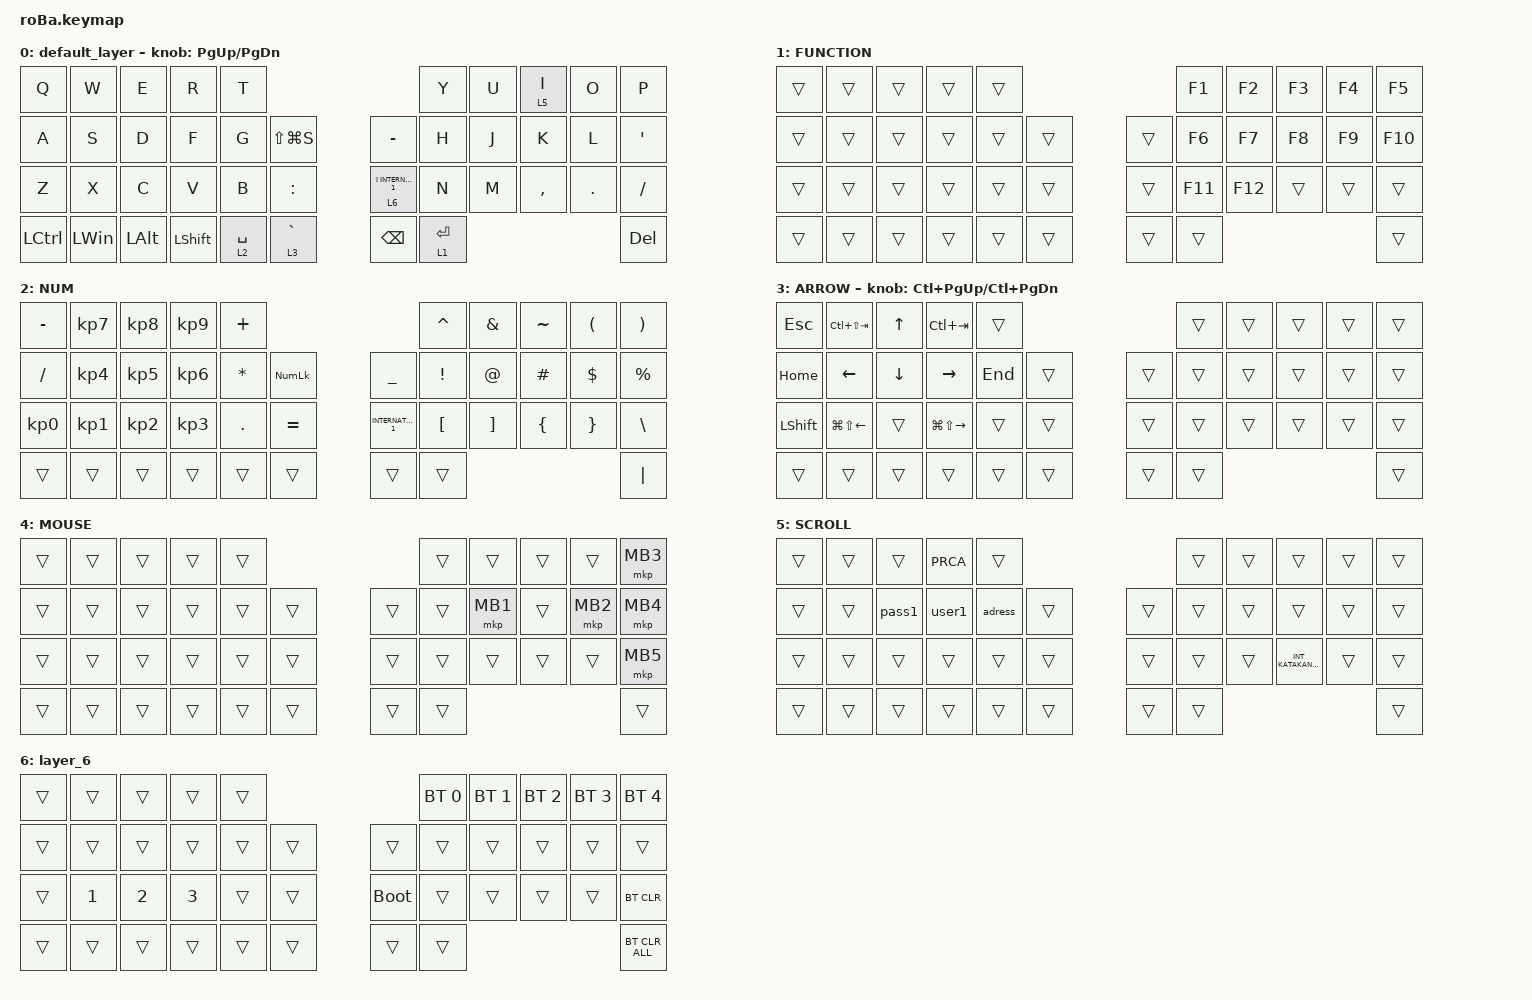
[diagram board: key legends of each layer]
#include <behaviors.dtsi>
#include <dt-bindings/zmk/bt.h>
#include <dt-bindings/zmk/keys.h>
#include <dt-bindings/zmk/pointing.h>

&mt {
    flavor = "balanced";
    quick-tap-ms = <0>;
};

&trackball {
    automouse-layer = <4>;
    scroll-layers = <5>;

    // arrows {
    //     layers = <3>;
    //     bindings =
    //         <&kp RIGHT_ARROW>,
    //         <&kp LEFT_ARROW>,
    //         <&kp UP_ARROW>,
    //         <&kp DOWN_ARROW>;
    //     tick = <10>;
    //     wait-ms = <5>;
    //     tap-ms = <5>;
    // };
};

/ {
    combos {
        compatible = "zmk,combos";

        tab {
            bindings = <&kp TAB>;
            key-positions = <11 12>;
        };

        shift_tab {
            bindings = <&kp LS(TAB)>;
            key-positions = <12 13>;
        };

        double_quotation {
            bindings = <&kp DOUBLE_QUOTES>;
            key-positions = <20 21>;
        };

        eq {
            bindings = <&kp EQUAL>;
            key-positions = <24 25>;
        };
    };

    macros {
        to_layer_0: to_layer_0 {
            compatible = "zmk,behavior-macro-one-param";
            #binding-cells = <1>;
            bindings = <&to 0 &macro_param_1to1 &kp MACRO_PLACEHOLDER>;
            label = "TO_LAYER_0";
        };

        pass1: pass1 {
            compatible = "zmk,behavior-macro";
            #binding-cells = <0>;
            bindings = <&none &kp LS(A) &kp V &kp I &kp O &kp N &kp I &kp C &kp W &kp I &kp Z &kp A &kp R &kp D &kp N0 &kp N4 &kp N1 &kp N9>;
            label = "PASS1";
        };

        user1: user1 {
            compatible = "zmk,behavior-macro";
            #binding-cells = <0>;
            bindings = <&kp LS(M) &kp N1 &kp N5 &kp N7 &kp N0 &kp N4 &kp N6>;
            label = "USER1";
        };

        adress: adress {
            compatible = "zmk,behavior-macro";
            #binding-cells = <0>;
            bindings = <&kp H &kp I &kp R &kp O &kp A &kp K &kp I &kp DOT &kp M &kp I &kp Y &kp A &kp Z &kp A &kp K &kp I &kp DOT &kp T &kp X &kp RIGHT_BRACKET &kp D &kp S &kp DOT &kp M &kp H &kp I &kp DOT &kp C &kp O &kp M>;
            label = "ADRESS";
        };

        PRCA: PRCA {
            compatible = "zmk,behavior-macro";
            #binding-cells = <0>;
            bindings = <&kp LS(P) &kp LS(R) &kp LS(C) &kp LS(A) &kp LS(INTERNATIONAL_1) &kp L &kp O &kp V &kp E>;
            label = "PRCA";
        };
    };

    behaviors {
        lt_to_layer_0: lt_to_layer_0 {
            compatible = "zmk,behavior-hold-tap";
            label = "LAYER_TAP_TO_0";
            bindings = <&mo>, <&to_layer_0>;

            #binding-cells = <2>;
            tapping-term-ms = <200>;
        };
    };

    keymap {
        compatible = "zmk,keymap";

        default_layer {
            bindings = <
&kp Q      &kp W         &kp E         &kp R           &kp T                                                                          &kp Y        &kp U  &lt 5 I    &kp O    &kp P
&kp A      &kp S         &kp D         &kp F           &kp G        &kp LS(LG(S))               &kp MINUS                             &kp H        &kp J  &kp K      &kp L    &kp SQT
&kp Z      &kp X         &kp C         &kp V           &kp B        &kp COLON                   &lt_to_layer_0 6 LS(INTERNATIONAL_1)  &kp N        &kp M  &kp COMMA  &kp DOT  &kp SLASH
&kp LCTRL  &kp LEFT_WIN  &kp LEFT_ALT  &kp LEFT_SHIFT  &lt 2 SPACE  &lt_to_layer_0 3 GRAVE      &kp BACKSPACE                         &lt 1 ENTER                             &kp DEL
            >;

            sensor-bindings = <&inc_dec_kp PAGE_UP PAGE_DOWN>;
        };

        FUNCTION {
            bindings = <
&trans  &trans  &trans  &trans  &trans                      &kp F1   &kp F2   &kp F3  &kp F4  &kp F5
&trans  &trans  &trans  &trans  &trans  &trans      &trans  &kp F6   &kp F7   &kp F8  &kp F9  &kp F10
&trans  &trans  &trans  &trans  &trans  &trans      &trans  &kp F11  &kp F12  &trans  &trans  &trans
&trans  &trans  &trans  &trans  &trans  &trans      &trans  &trans                            &trans
            >;
        };

        NUM {
            bindings = <
&kp MINUS  &kp KP_NUMBER_7  &kp KP_NUMBER_8  &kp KP_NUMBER_9  &kp PLUS                                               &kp CARET         &kp AMPERSAND      &kp TILDE       &kp LEFT_PARENTHESIS  &kp RIGHT_PARENTHESIS
&kp SLASH  &kp KP_NUMBER_4  &kp KP_NUMBER_5  &kp KP_NUMBER_6  &kp ASTERISK  &kp KP_NUMLOCK      &kp UNDERSCORE       &kp EXCLAMATION   &kp AT_SIGN        &kp HASH        &kp DOLLAR            &kp PERCENT
&kp KP_N0  &kp KP_NUMBER_1  &kp KP_NUMBER_2  &kp KP_NUMBER_3  &kp PERIOD    &kp EQUAL           &kp INTERNATIONAL_1  &kp LEFT_BRACKET  &kp RIGHT_BRACKET  &kp LEFT_BRACE  &kp RIGHT_BRACE       &kp BACKSLASH
&trans     &trans           &trans           &trans           &trans        &trans              &trans               &trans                                                                     &kp PIPE
            >;
        };

        ARROW {
            bindings = <
&kp ESCAPE      &kp LC(LS(TAB))         &kp UP_ARROW    &kp LC(TAB)              &trans                       &trans  &trans  &trans  &trans  &trans
&kp HOME        &kp LEFT_ARROW          &kp DOWN_ARROW  &kp RIGHT_ARROW          &kp END  &trans      &trans  &trans  &trans  &trans  &trans  &trans
&kp LEFT_SHIFT  &kp LG(LS(LEFT_ARROW))  &trans          &kp LG(LS(RIGHT_ARROW))  &trans   &trans      &trans  &trans  &trans  &trans  &trans  &trans
&trans          &trans                  &trans          &trans                   &trans   &trans      &trans  &trans                          &trans
            >;

            sensor-bindings = <&inc_dec_kp LC(PAGE_UP) LC(PAGE_DOWN)>;
        };

        MOUSE {
            bindings = <
&trans  &trans  &trans  &trans  &trans                      &trans  &trans    &trans  &trans    &mkp MB3
&trans  &trans  &trans  &trans  &trans  &trans      &trans  &trans  &mkp MB1  &trans  &mkp MB2  &mkp MB4
&trans  &trans  &trans  &trans  &trans  &trans      &trans  &trans  &trans    &trans  &trans    &mkp MB5
&trans  &trans  &trans  &trans  &trans  &trans      &trans  &trans                              &trans
            >;
        };

        SCROLL {
            bindings = <
&trans  &trans  &trans  &PRCA   &trans                       &trans  &trans  &trans                    &trans  &trans
&trans  &trans  &pass1  &user1  &adress  &trans      &trans  &trans  &trans  &trans                    &trans  &trans
&trans  &trans  &trans  &trans  &trans   &trans      &trans  &trans  &trans  &kp INT_KATAKANAHIRAGANA  &trans  &trans
&trans  &trans  &trans  &trans  &trans   &trans      &trans  &trans                                            &trans
            >;
        };

        layer_6 {
            bindings = <
&trans  &trans        &trans        &trans        &trans                           &bt BT_SEL 0  &bt BT_SEL 1  &bt BT_SEL 2  &bt BT_SEL 3  &bt BT_SEL 4
&trans  &trans        &trans        &trans        &trans  &trans      &trans       &trans        &trans        &trans        &trans        &trans
&trans  &kp NUMBER_1  &kp NUMBER_2  &kp NUMBER_3  &trans  &trans      &bootloader  &trans        &trans        &trans        &trans        &bt BT_CLR
&trans  &trans        &trans        &trans        &trans  &trans      &trans       &trans                                                  &bt BT_CLR_ALL
            >;
        };
    };
};
